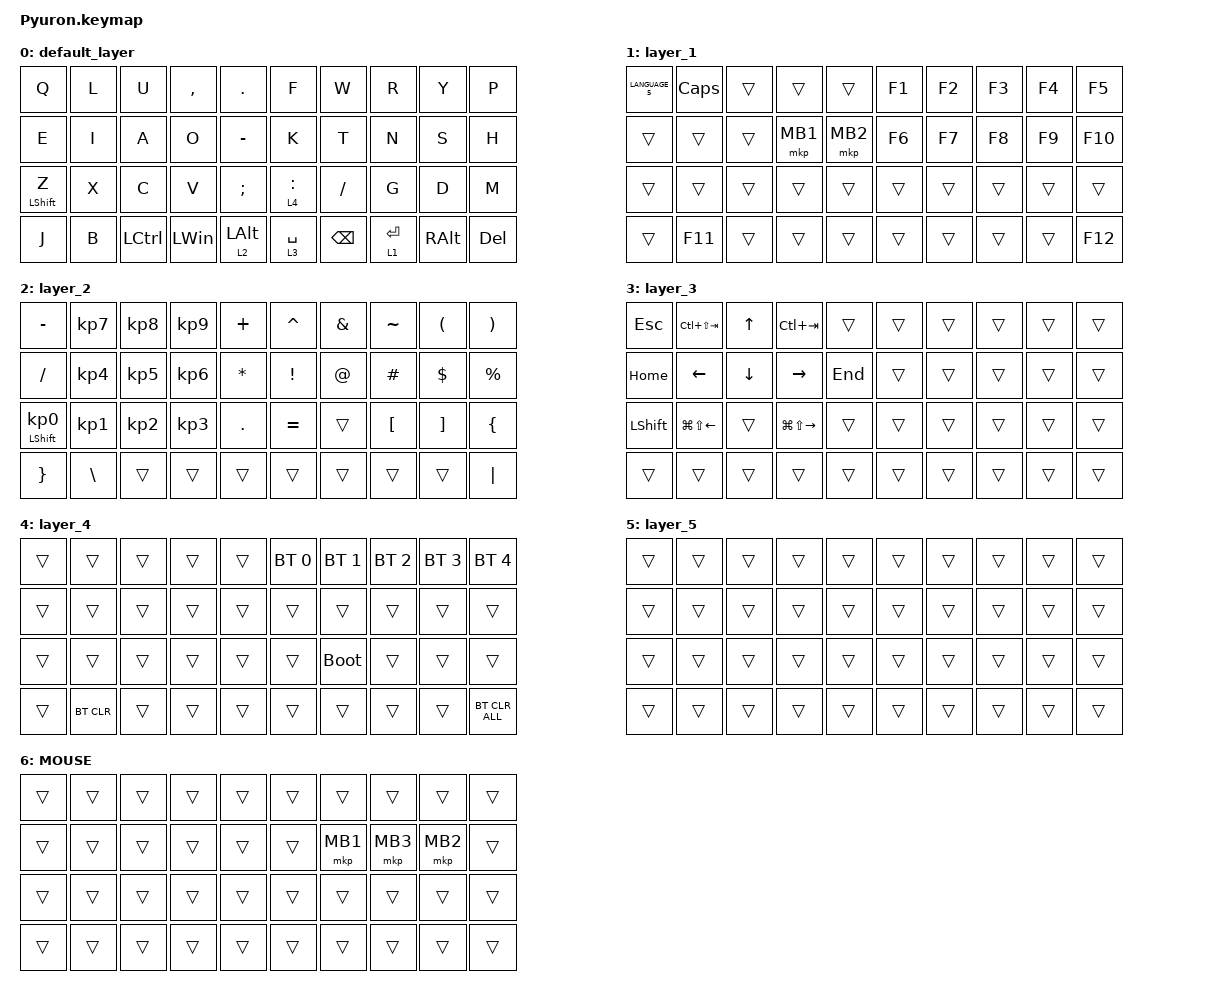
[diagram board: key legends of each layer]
#include <behaviors.dtsi>
#include <dt-bindings/zmk/bt.h>
#include <dt-bindings/zmk/keys.h>
#include <dt-bindings/zmk/pointing.h>

#define MOUSE 6

&mt {
    flavor = "balanced";
    quick-tap-ms = <0>;
};

/ {
    combos { compatible = "zmk,combos"; };

    macros {
        to_layer_0: to_layer_0 {
            compatible = "zmk,behavior-macro-one-param";
            #binding-cells = <1>;
            bindings = <&to 0 &macro_param_1to1 &kp MACRO_PLACEHOLDER>;
            label = "TO_LAYER_0";
        };
    };

    lt_to_layer_0: lt_to_layer_0 {
        compatible = "zmk,behavior-hold-tap";
        label = "LAYER_TAP_TO_0";
        bindings = <&mo>, <&to_layer_0>;

        #binding-cells = <2>;
        tapping-term-ms = <200>;
    };
};

/ {
    behaviors {
    };

    keymap {
        compatible = "zmk,keymap";

        default_layer {
            bindings = <
&kp Q             &kp L  &kp U      &kp COMMA     &kp PERIOD      &kp F        &kp W          &kp R        &kp Y          &kp P
&kp E             &kp I  &kp A      &kp O         &kp MINUS       &kp K        &kp T          &kp N        &kp S          &kp H
&mt LEFT_SHIFT Z  &kp X  &kp C      &kp V         &kp SEMICOLON   &lt 4 COLON  &kp SLASH      &kp G        &kp D          &kp M
&kp J             &kp B  &kp LCTRL  &kp LEFT_WIN  &lt 2 LEFT_ALT  &lt 3 SPACE  &kp BACKSPACE  &lt 1 ENTER  &kp RIGHT_ALT  &kp DEL
            >;
        };

        layer_1 {
            bindings = <
&kp LANGUAGE_5  &kp CAPSLOCK  &trans  &trans    &trans    &kp F1  &kp F2  &kp F3  &kp F4  &kp F5
&trans          &trans        &trans  &mkp MB1  &mkp MB2  &kp F6  &kp F7  &kp F8  &kp F9  &kp F10
&trans          &trans        &trans  &trans    &trans    &trans  &trans  &trans  &trans  &trans
&trans          &kp F11       &trans  &trans    &trans    &trans  &trans  &trans  &trans  &kp F12
            >;
        };

        layer_2 {
            bindings = <
&kp MINUS                   &kp KP_NUMBER_7  &kp KP_NUMBER_8  &kp KP_NUMBER_9  &kp PLUS      &kp CARET        &kp AMPERSAND  &kp TILDE         &kp LEFT_PARENTHESIS  &kp RIGHT_PARENTHESIS
&kp SLASH                   &kp KP_NUMBER_4  &kp KP_NUMBER_5  &kp KP_NUMBER_6  &kp ASTERISK  &kp EXCLAMATION  &kp AT_SIGN    &kp HASH          &kp DOLLAR            &kp PERCENT
&mt LEFT_SHIFT KP_NUMBER_0  &kp KP_NUMBER_1  &kp KP_NUMBER_2  &kp KP_NUMBER_3  &kp PERIOD    &kp EQUAL        &trans         &kp LEFT_BRACKET  &kp RIGHT_BRACKET     &kp LEFT_BRACE
&kp RIGHT_BRACE             &kp BACKSLASH    &trans           &trans           &trans        &trans           &trans         &trans            &trans                &kp PIPE
            >;
        };

        layer_3 {
            bindings = <
&kp ESCAPE      &kp LC(LS(TAB))         &kp UP_ARROW    &kp LC(TAB)              &trans   &trans  &trans  &trans  &trans  &trans
&kp HOME        &kp LEFT_ARROW          &kp DOWN_ARROW  &kp RIGHT_ARROW          &kp END  &trans  &trans  &trans  &trans  &trans
&kp LEFT_SHIFT  &kp LG(LS(LEFT_ARROW))  &trans          &kp LG(LS(RIGHT_ARROW))  &trans   &trans  &trans  &trans  &trans  &trans
&trans          &trans                  &trans          &trans                   &trans   &trans  &trans  &trans  &trans  &trans
            >;
        };

        layer_4 {
            bindings = <
&trans  &trans      &trans  &trans  &trans  &bt BT_SEL 0  &bt BT_SEL 1  &bt BT_SEL 2  &bt BT_SEL 3  &bt BT_SEL 4
&trans  &trans      &trans  &trans  &trans  &trans        &trans        &trans        &trans        &trans
&trans  &trans      &trans  &trans  &trans  &trans        &bootloader   &trans        &trans        &trans
&trans  &bt BT_CLR  &trans  &trans  &trans  &trans        &trans        &trans        &trans        &bt BT_CLR_ALL
            >;
        };

        layer_5 {
            bindings = <
&trans  &trans  &trans  &trans  &trans  &trans  &trans  &trans  &trans  &trans
&trans  &trans  &trans  &trans  &trans  &trans  &trans  &trans  &trans  &trans
&trans  &trans  &trans  &trans  &trans  &trans  &trans  &trans  &trans  &trans
&trans  &trans  &trans  &trans  &trans  &trans  &trans  &trans  &trans  &trans
            >;
        };

        MOUSE {
            bindings = <
&trans  &trans  &trans  &trans  &trans  &trans  &trans    &trans    &trans    &trans
&trans  &trans  &trans  &trans  &trans  &trans  &mkp MB1  &mkp MB3  &mkp MB2  &trans
&trans  &trans  &trans  &trans  &trans  &trans  &trans    &trans    &trans    &trans
&trans  &trans  &trans  &trans  &trans  &trans  &trans    &trans    &trans    &trans
            >;
        };
    };
};
